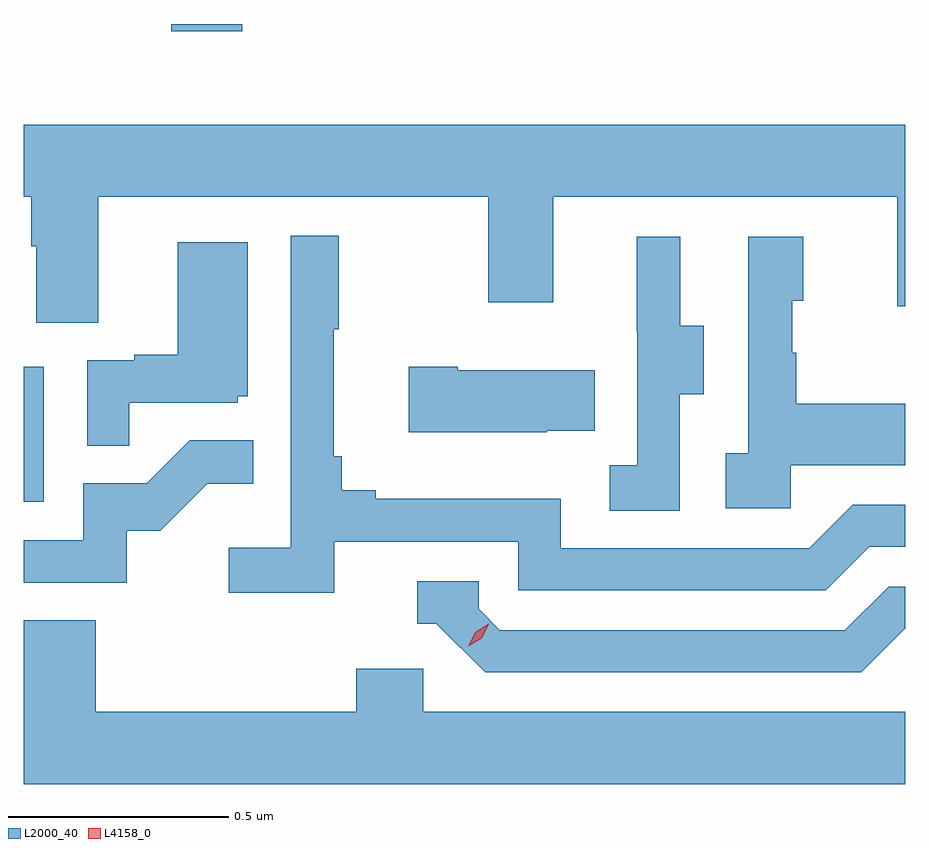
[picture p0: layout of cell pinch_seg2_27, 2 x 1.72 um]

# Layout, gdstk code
import gdstk
lib = gdstk.Library(unit=1e-6, precision=1e-09)
def R(c, l, rs):  # rectangles x0, y0, x1, y1
    for r in rs: c.add(gdstk.rectangle(r[:2], r[2:], *l))
def P(c, l, *ps):  # polygons
    for p in ps: c.add(gdstk.Polygon(p, *l))
L2000_40 = (2000, 40)
L4158_0 = (4158, 0)

pinch_seg2_27 = lib.new_cell('pinch_seg2_27')
R(pinch_seg2_27, L2000_40, [(1102.722,653.604,1102.768,653.911), (1103.057,654.672,1103.218,654.688)])
P(pinch_seg2_27, L2000_40, [(1102.891,654.296),(1103.776,654.296),(1103.776,654.057),(1103.923,654.057),(1103.923,654.296),(1104.704,654.296),(1104.704,654.048),(1104.722,654.048),(1104.722,654.46),(1102.722,654.46),(1102.722,654.296),(1102.739,654.296),(1102.739,654.184),(1102.751,654.184),(1102.751,654.01),(1102.891,654.01)],
  [(1103.426,653.514),(1103.844,653.514),(1103.844,653.403),(1104.541,653.403),(1104.64,653.502),(1104.722,653.502),(1104.722,653.598),(1104.603,653.598),(1104.504,653.499),(1103.94,653.499),(1103.94,653.611),(1103.521,653.611),(1103.521,653.63),(1103.444,653.63),(1103.444,653.707),(1103.425,653.707),(1103.425,653.995),(1103.437,653.995),(1103.437,654.208),(1103.328,654.208),(1103.328,653.5),(1103.187,653.5),(1103.187,653.398),(1103.426,653.398)],
  [(1104.21,653.848),(1104.265,653.848),(1104.265,654.003),(1104.211,654.003),(1104.211,654.205),(1104.113,654.205),(1104.113,653.991),(1104.114,653.991),(1104.114,653.687),(1104.051,653.687),(1104.051,653.584),(1104.21,653.584)],
  [(1104.462,653.687),(1104.722,653.687),(1104.722,653.827),(1104.475,653.827),(1104.475,653.942),(1104.465,653.942),(1104.465,654.06),(1104.49,654.06),(1104.49,654.205),(1104.366,654.205),(1104.366,653.714),(1104.315,653.714),(1104.315,653.589),(1104.462,653.589)],
  [(1102.961,653.829),(1103.208,653.829),(1103.208,653.844),(1103.23,653.844),(1103.23,654.193),(1103.072,654.193),(1103.072,653.938),(1102.973,653.938),(1102.973,653.925),(1102.866,653.925),(1102.866,653.731),(1102.961,653.731)],
  [(1103.909,653.765),(1104.017,653.765),(1104.017,653.902),(1103.707,653.902),(1103.707,653.91),(1103.595,653.91),(1103.595,653.762),(1103.909,653.762)],
  [(1102.956,653.538),(1103.032,653.538),(1103.139,653.645),(1103.243,653.645),(1103.243,653.744),(1103.099,653.744),(1103.001,653.646),(1102.857,653.646),(1102.857,653.517),(1102.722,653.517),(1102.722,653.421),(1102.956,653.421)],
  [(1104.721,653.316),(1104.722,653.316),(1104.722,653.412),(1104.684,653.412),(1104.585,653.313),(1103.802,653.313),(1103.754,653.361),(1103.754,653.424),(1103.615,653.424),(1103.615,653.328),(1103.658,653.328),(1103.769,653.217),(1104.622,653.217)],
  [(1104.722,653.128),(1103.628,653.128),(1103.628,653.226),(1103.477,653.226),(1103.477,653.128),(1102.886,653.128),(1102.886,653.336),(1102.722,653.336),(1102.722,652.964),(1104.722,652.964)])
P(pinch_seg2_27, L4158_0, [(1103.73,653.276),(1103.73,653.276),(1103.746,653.308),(1103.777,653.328),(1103.777,653.328),(1103.777,653.327),(1103.761,653.295),(1103.73,653.276)])

lib.write_gds('pinch_seg2_27.gds')
